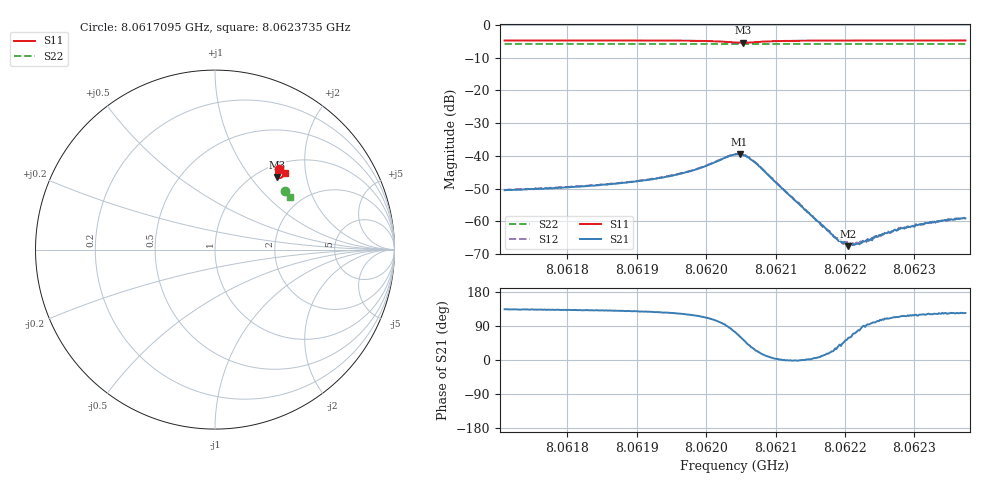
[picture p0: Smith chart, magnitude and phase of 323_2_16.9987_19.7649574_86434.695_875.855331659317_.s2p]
#  HZ  S  RI  R  50.00
! Rohde & Schwarz Vector Network Analyzer
! Rohde-Schwarz,ZNB20-2Port,1311601062101988,3.16
! Created: UTC 3/20/2024, 11:06:36 PM
! freq[Hz]  re:S11  im:S11  re:S21  im:S21  re:S12  im:S12  re:S22  im:S22
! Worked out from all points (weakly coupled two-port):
!   401 points, 8.0617095 GHz to 8.0623735 GHz, reference 50 ohm
!   highest |S21| = -39.46 dB at 8.0620481 GHz (marker M1); lowest = -67.6 dB at 8.0622042 GHz (marker M2)
!   lowest |S11| = -5.5 dB at 8.0620531 GHz (marker M3), VSWR 3.27, Z = 60.7 + j68.3 ohm
!   |S11| at or under -10 dB: nowhere
!   |S22| runs from -5.9 to -5.8 dB; largest |S21 - S12| = 0.00081
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8.06170948e9  0.3591 0.4504  -0.00207 0.00215  -0.00195 0.0023  0.3917 0.3274
8.0618207e9  0.3665 0.4437  -0.00227 0.00256  -0.00211 0.00271  0.3959 0.3221
8.06188544e9  0.3714 0.4389  -0.00246 0.00303  -0.00231 0.00318  0.3983 0.3188
8.06193192e9  0.3754 0.4342  -0.0027 0.00368  -0.00246 0.00388  0.4002 0.3162
8.06198338e9  0.3797 0.4242  -0.00284 0.00539  -0.00251 0.00561  0.4019 0.3134
8.06204148e9  0.3599 0.3982  0.0029 0.0101  0.00363 0.0098  0.4029 0.3097
8.06204812e9  0.3514 0.3998  0.0049 0.00944  0.00546 0.0091  0.4027 0.3096
8.0620531e9  0.3458 0.4035  0.0061 0.00838  0.00664 0.00805  0.4025 0.3097
8.0620614e9  0.3398 0.4129  0.00729 0.00598  0.00763 0.00556  0.4029 0.3098
8.06207136e9  0.3399 0.4245  0.00703 0.0032  0.00725 0.00286  0.4033 0.3099
8.0621527e9  0.3684 0.4381  0.0012 6.53e-05  0.00123 -9.95e-06  0.4075 0.3063
8.06218424e9  0.3731 0.4362  0.000515 0.00025  0.000528 0.000233  0.4088 0.3047
8.0621942e9  0.3744 0.4357  0.000387 0.000292  0.000406 0.000306  0.4093 0.3041
8.06220416e9  0.3755 0.4351  0.000227 0.000349  0.000274 0.000362  0.4095 0.3036
8.06221578e9  0.3767 0.4343  0.000133 0.000427  0.000188 0.000427  0.4101 0.303
8.0622274e9  0.3779 0.4335  -2.99e-06 0.00049  7.87e-05 0.000488  0.4104 0.3023
8.06223902e9  0.379 0.4328  -6.84e-05 0.000507  -5.41e-05 0.00054  0.4109 0.3018
8.06224731e9  0.3796 0.4323  -0.000132 0.000562  -0.000125 0.000568  0.4112 0.3013
8.06226391e9  0.3811 0.4313  -0.000227 0.000634  -0.000201 0.000633  0.4119 0.3006
8.06227885e9  0.3824 0.4305  -0.000318 0.000695  -0.000292 0.00071  0.4123 0.2998
8.06230541e9  0.3844 0.4289  -0.000406 0.000779  -0.000398 0.000837  0.4132 0.2984
8.06237347e9  0.389 0.4251  -0.000618 0.000917  -0.000597 0.000971  0.4156 0.2949
